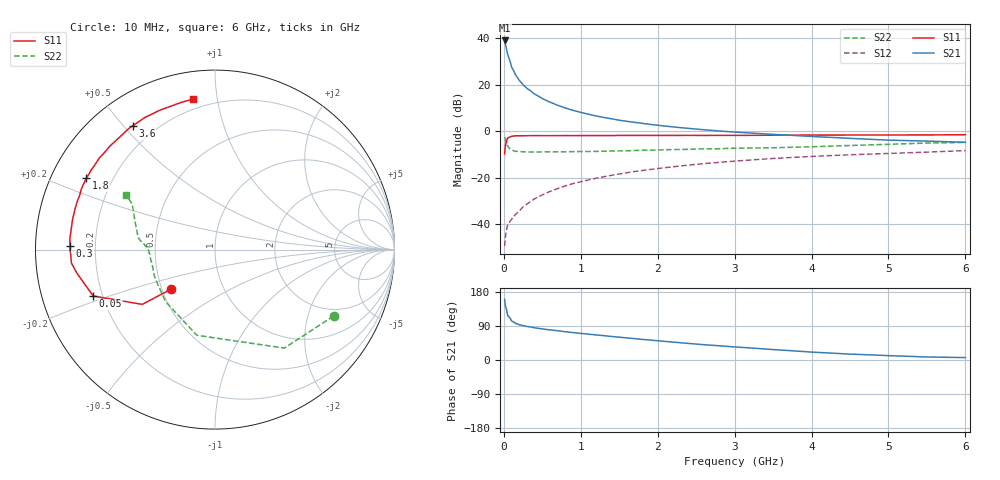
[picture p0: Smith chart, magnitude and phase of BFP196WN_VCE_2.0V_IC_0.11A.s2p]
! Infineon Technologies  Discrete & RF Semiconductors
! BFP196WN
! VCE =  2.0 V,  IC = 0.11 A
! Common Emitter S-Parameters:  Jan 2017
# GHz  S  MA  R  50
!  f  S11  S21  S12  S22
! GHz  MAG  ANG  MAG  ANG  MAG  ANG  MAG  ANG
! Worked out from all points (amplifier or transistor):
!   77 points, 10 MHz to 6 GHz, reference 50 ohm
!   highest |S21| = 39.1 dB at 10 MHz (marker M1)
!   |S21| within 3 dB of that: start of sweep to 30.25 MHz
!   unconditionally stable (mu >= 1): 293.6 MHz to 3.145 GHz
!   at 130 MHz: K = 0.80, MSG = 31.2 dB, |S12| = -36.5 dB
!   at 2.2 GHz: K = 1.03, MAG = 7.4 dB, |S12| = -15.2 dB
!   at 6 GHz: K = 0.96, MSG = 1.8 dB, |S12| = -8.3 dB
!   S11 on the Smith chart (normalised r, x): 10 MHz: 0.56, -0.28; 50 MHz: 0.16, -0.18; 300 MHz: 0.11, +0.01; 1.8 GHz: 0.11, +0.26; 3.6 GHz: 0.12, +0.53; 6 GHz: 0.14, +0.86
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0.01  0.3295 -138.0  90.31 160.0  0.0034 72.3  0.7577 -29.2
0.02  0.5068 -143.0  75.62 142.8  0.0054 65.4  0.671 -54.9
0.05  0.7258 -159.1  44.89 117.0  0.0099 50.4  0.4878 -102.0
0.1  0.7812 -170.4  24.4 103.0  0.0128 55.4  0.3996 -133.6
0.15  0.8036 -174.7  16.65 97.0  0.0163 58.1  0.3735 -148.1
0.2  0.804 -177.8  12.56 93.3  0.0192 64.0  0.3687 -155.7
0.25  0.8078 -179.7  10.09 90.6  0.0239 66.2  0.3641 -160.3
0.3  0.8085 178.5  8.432 88.5  0.0273 69.9  0.3606 -164.1
0.4  0.811 175.7  6.352 84.9  0.0355 71.7  0.3604 -168.2
0.5  0.8094 173.4  5.085 82.0  0.043 71.8  0.3621 -171.0
0.6  0.8094 171.2  4.251 79.4  0.0512 73.0  0.3637 -173.4
0.7  0.8101 169.5  3.642 77.2  0.059 72.5  0.3626 -175.0
0.8  0.8119 167.5  3.192 74.6  0.0672 73.2  0.3639 -176.0
1.1  0.8122 162.2  2.336 68.2  0.0904 71.6  0.3701 -179.2
1.4  0.814 157.2  1.864 62.1  0.1138 69.5  0.3789 178.6
1.8  0.8206 150.8  1.489 54.3  0.1442 66.4  0.3924 176.4
2.1  0.8194 146.2  1.301 49.0  0.1663 63.8  0.4024 175.0
3.1  0.8212 131.1  0.945 33.2  0.2356 54.3  0.4369 169.9
3.6  0.8283 123.7  0.846 26.3  0.2671 49.7  0.4493 165.9
4.1  0.8329 116.7  0.764 19.8  0.2941 44.9  0.4723 160.6
5.1  0.837 106.0  0.642 10.8  0.3398 36.9  0.534 150.8
6  0.8472 98.2  0.582 6.3  0.3865 30.7  0.5809 148.5
